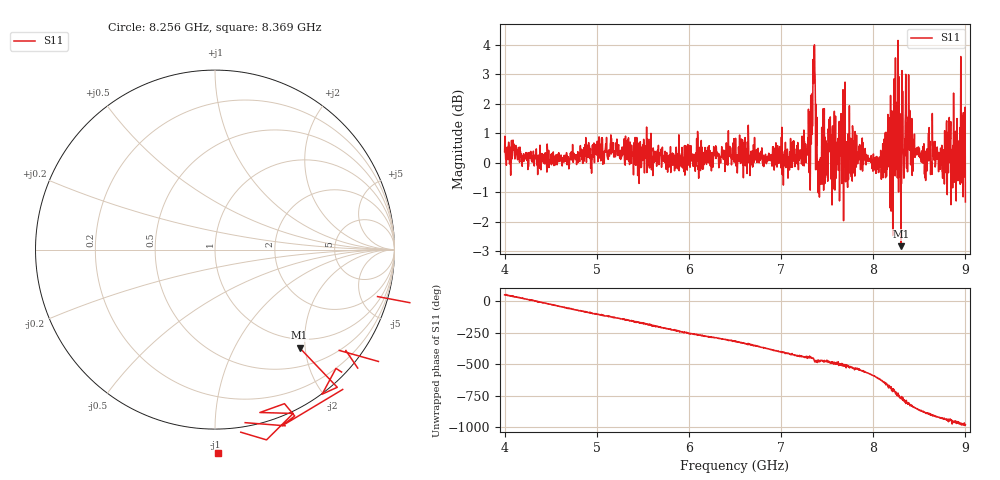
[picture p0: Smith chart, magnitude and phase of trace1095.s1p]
! Created with skrf 1.8.0 (http://scikit-rf.org).
# Hz S RI R 50.0
!freq ReS11 ImS11
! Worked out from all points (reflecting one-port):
!   1601 points, 4 GHz to 9 GHz, reference 50 ohm
!   lowest |S11| = -2.8 dB at 8.3 GHz (marker M1), VSWR 6.18, Z = 41.5 - j94.4 ohm
!   phase of S11 starts at 50 deg and turns -1033 deg over the sweep
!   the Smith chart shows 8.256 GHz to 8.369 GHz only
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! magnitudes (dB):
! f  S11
! 4 GHz  0.4
! 4.625 GHz  -0.1
! 5.25 GHz  0.1
! 5.875 GHz  0.3
! 6.5 GHz  0.3
! 7.125 GHz  0.5
! 7.294 GHz  0.3
! 7.347 GHz  3.5
! 7.369 GHz  3.0
! 7.4 GHz  -0.2
! 7.425 GHz  -0.1
! 7.509 GHz  -0.3
! 7.609 GHz  0.5
! 7.669 GHz  1.7
! 7.703 GHz  0.0
! 7.75 GHz  0.4
! 8.075 GHz  0.2
! 8.156 GHz  0.8
! 8.197 GHz  0.5
! 8.253 GHz  0.3
! 8.3 GHz  -2.8
! 8.312 GHz  3.1
! 8.375 GHz  0.5
! 8.556 GHz  -0.4
! 8.816 GHz  -0.3
! 8.869 GHz  -0.4
! 8.972 GHz  0.5
! 9 GHz  -1.3
